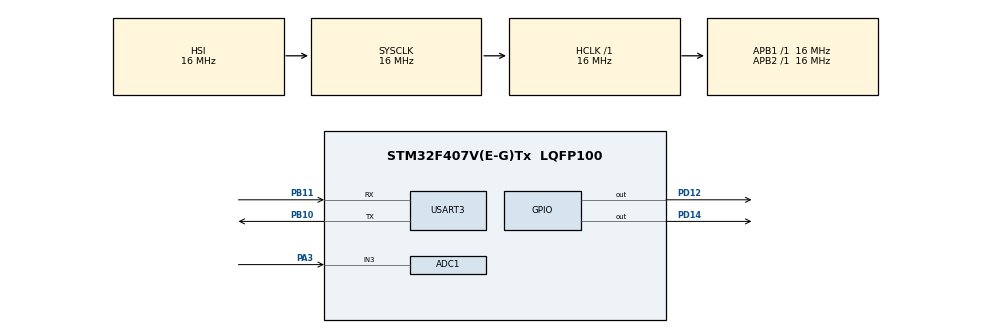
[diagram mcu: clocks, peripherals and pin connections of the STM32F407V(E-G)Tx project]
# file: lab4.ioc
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ADC1.Channel-0\#ChannelRegularConversion=ADC_CHANNEL_3
ADC1.ClockPrescaler=ADC_CLOCK_SYNC_PCLK_DIV8
ADC1.NbrOfConversionFlag=1
ADC1.Rank-0\#ChannelRegularConversion=1
ADC1.SamplingTime-0\#ChannelRegularConversion=ADC_SAMPLETIME_480CYCLES
ADC1.master=1
Mcu.Family=STM32F4
Mcu.Name=STM32F407V(E-G)Tx
Mcu.Package=LQFP100
NVIC.ADC_IRQn=true\:0\:0\:false\:false\:true\:true\:true\:true
NVIC.PriorityGroup=NVIC_PRIORITYGROUP_4
PA3.Signal=ADCx_IN3
PB10.Mode=Asynchronous
PB10.Signal=USART3_TX
PB11.Mode=Asynchronous
PB11.Signal=USART3_RX
PD12.Signal=GPIO_Output
PD14.Signal=GPIO_Output
ProjectManager.HeapSize=0x200
ProjectManager.StackSize=0x400
ProjectManager.TargetToolchain=STM32CubeIDE
RCC.AHBFreq_Value=16000000
RCC.APB1Freq_Value=16000000
RCC.APB2Freq_Value=16000000
RCC.CortexFreq_Value=16000000
RCC.HSE_VALUE=25000000
RCC.HSI_VALUE=16000000
RCC.LSE_VALUE=32768
RCC.SYSCLKFreq_VALUE=16000000
RCC.VCOOutputFreq_Value=192000000
SH.ADCx_IN3.0=ADC1_IN3,IN3
USART3.VirtualMode=VM_ASYNC
board=custom

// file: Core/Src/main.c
/* USER CODE BEGIN Header */
/**
  ******************************************************************************
  * @file           : main.c
  * @brief          : Main program body
  ******************************************************************************
  * @attention
  *
  * Copyright (c) 2025 STMicroelectronics.
  * All rights reserved.
  *
  * This software is licensed under terms that can be found in the LICENSE file
  * in the root directory of this software component.
  * If no LICENSE file comes with this software, it is provided AS-IS.
  *
  ******************************************************************************
  */
/* USER CODE END Header */
#include "main.h"

ADC_HandleTypeDef hadc1;

UART_HandleTypeDef huart3;

void SystemClock_Config(void);
static void MX_GPIO_Init(void);
static void MX_ADC1_Init(void);
static void MX_USART3_UART_Init(void);

/* USER CODE BEGIN 0 */
#define N_SAMPLES 200
#define VREF      3.3f
volatile uint32_t adc_sum = 0;
volatile uint32_t sample_count = 0;
volatile float adc_avg = 0;
volatile float voltage = 0;

void HAL_ADC_ConvCpltCallback(ADC_HandleTypeDef* hadc)
{
    if (hadc->Instance == ADC1)
    {
        uint32_t val = HAL_ADC_GetValue(&hadc1);
        adc_sum += val;
        sample_count++;
        if (sample_count < N_SAMPLES)
        {
            HAL_ADC_Start_IT(&hadc1);
        }
    }
}
/* USER CODE END 0 */

int main(void)
{

  /* MCU Configuration--------------------------------------------------------*/

  /* Reset of all peripherals, Initializes the Flash interface and the Systick. */
  HAL_Init();

  /* Configure the system clock */
  SystemClock_Config();

  /* Initialize all configured peripherals */
  MX_GPIO_Init();
  MX_ADC1_Init();
  MX_USART3_UART_Init();

  /* Infinite loop */
  while (1)
  {

    /* USER CODE BEGIN 3 */
	  adc_sum = 0;
	  sample_count = 0;
	  HAL_ADC_Start_IT(&hadc1);
	  while (sample_count < N_SAMPLES)
	  {

	  }
	  adc_avg = (float)adc_sum / N_SAMPLES;
	  voltage = adc_avg * (VREF / 4095.0f);
	  if (voltage < 1.65f)
	  {
		  HAL_GPIO_WritePin(GPIOD, GPIO_PIN_12, GPIO_PIN_SET);
		  HAL_GPIO_WritePin(GPIOD, GPIO_PIN_14, GPIO_PIN_RESET);
	  }
	  else
	  {
	      HAL_GPIO_WritePin(GPIOD, GPIO_PIN_14, GPIO_PIN_SET);
	      HAL_GPIO_WritePin(GPIOD, GPIO_PIN_12, GPIO_PIN_RESET);
	  }
	  HAL_Delay(200);

  }
  /* USER CODE END 3 */
}

void SystemClock_Config(void)
{
  RCC_OscInitTypeDef RCC_OscInitStruct = {0};
  RCC_ClkInitTypeDef RCC_ClkInitStruct = {0};

  /** Configure the main internal regulator output voltage
  */
  __HAL_RCC_PWR_CLK_ENABLE();
  __HAL_PWR_VOLTAGESCALING_CONFIG(PWR_REGULATOR_VOLTAGE_SCALE1);

  /** Initializes the RCC Oscillators according to the specified parameters
  * in the RCC_OscInitTypeDef structure.
  */
  RCC_OscInitStruct.OscillatorType = RCC_OSCILLATORTYPE_HSI;
  RCC_OscInitStruct.HSIState = RCC_HSI_ON;
  RCC_OscInitStruct.HSICalibrationValue = RCC_HSICALIBRATION_DEFAULT;
  RCC_OscInitStruct.PLL.PLLState = RCC_PLL_NONE;
  if (HAL_RCC_OscConfig(&RCC_OscInitStruct) != HAL_OK)
  {
    Error_Handler();
  }

  /** Initializes the CPU, AHB and APB buses clocks
  */
  RCC_ClkInitStruct.ClockType = RCC_CLOCKTYPE_HCLK|RCC_CLOCKTYPE_SYSCLK
                              |RCC_CLOCKTYPE_PCLK1|RCC_CLOCKTYPE_PCLK2;
  RCC_ClkInitStruct.SYSCLKSource = RCC_SYSCLKSOURCE_HSI;
  RCC_ClkInitStruct.AHBCLKDivider = RCC_SYSCLK_DIV1;
  RCC_ClkInitStruct.APB1CLKDivider = RCC_HCLK_DIV1;
  RCC_ClkInitStruct.APB2CLKDivider = RCC_HCLK_DIV1;

  if (HAL_RCC_ClockConfig(&RCC_ClkInitStruct, FLASH_LATENCY_0) != HAL_OK)
  {
    Error_Handler();
  }
}

static void MX_ADC1_Init(void)
{

  ADC_ChannelConfTypeDef sConfig = {0};

  /** Configure the global features of the ADC (Clock, Resolution, Data Alignment and number of conversion)
  */
  hadc1.Instance = ADC1;
  hadc1.Init.ClockPrescaler = ADC_CLOCK_SYNC_PCLK_DIV8;
  hadc1.Init.Resolution = ADC_RESOLUTION_12B;
  hadc1.Init.ScanConvMode = DISABLE;
  hadc1.Init.ContinuousConvMode = DISABLE;
  hadc1.Init.DiscontinuousConvMode = DISABLE;
  hadc1.Init.ExternalTrigConvEdge = ADC_EXTERNALTRIGCONVEDGE_NONE;
  hadc1.Init.ExternalTrigConv = ADC_SOFTWARE_START;
  hadc1.Init.DataAlign = ADC_DATAALIGN_RIGHT;
  hadc1.Init.NbrOfConversion = 1;
  hadc1.Init.DMAContinuousRequests = DISABLE;
  hadc1.Init.EOCSelection = ADC_EOC_SINGLE_CONV;
  if (HAL_ADC_Init(&hadc1) != HAL_OK)
  {
    Error_Handler();
  }

  /** Configure for the selected ADC regular channel its corresponding rank in the sequencer and its sample time.
  */
  sConfig.Channel = ADC_CHANNEL_3;
  sConfig.Rank = 1;
  sConfig.SamplingTime = ADC_SAMPLETIME_480CYCLES;
  if (HAL_ADC_ConfigChannel(&hadc1, &sConfig) != HAL_OK)
  {
    Error_Handler();
  }

}

static void MX_USART3_UART_Init(void)
{

  huart3.Instance = USART3;
  huart3.Init.BaudRate = 115200;
  huart3.Init.WordLength = UART_WORDLENGTH_8B;
  huart3.Init.StopBits = UART_STOPBITS_1;
  huart3.Init.Parity = UART_PARITY_NONE;
  huart3.Init.Mode = UART_MODE_TX_RX;
  huart3.Init.HwFlowCtl = UART_HWCONTROL_NONE;
  huart3.Init.OverSampling = UART_OVERSAMPLING_16;
  if (HAL_UART_Init(&huart3) != HAL_OK)
  {
    Error_Handler();
  }

}

static void MX_GPIO_Init(void)
{
  GPIO_InitTypeDef GPIO_InitStruct = {0};

  /* GPIO Ports Clock Enable */
  __HAL_RCC_GPIOA_CLK_ENABLE();
  __HAL_RCC_GPIOB_CLK_ENABLE();
  __HAL_RCC_GPIOD_CLK_ENABLE();

  /*Configure GPIO pin Output Level */
  HAL_GPIO_WritePin(GPIOD, GPIO_PIN_12|GPIO_PIN_14, GPIO_PIN_RESET);

  /*Configure GPIO pins : PD12 PD14 */
  GPIO_InitStruct.Pin = GPIO_PIN_12|GPIO_PIN_14;
  GPIO_InitStruct.Mode = GPIO_MODE_OUTPUT_PP;
  GPIO_InitStruct.Pull = GPIO_NOPULL;
  GPIO_InitStruct.Speed = GPIO_SPEED_FREQ_LOW;
  HAL_GPIO_Init(GPIOD, &GPIO_InitStruct);

}

void Error_Handler(void)
{
  __disable_irq();
  while (1)
  {
  }
}
